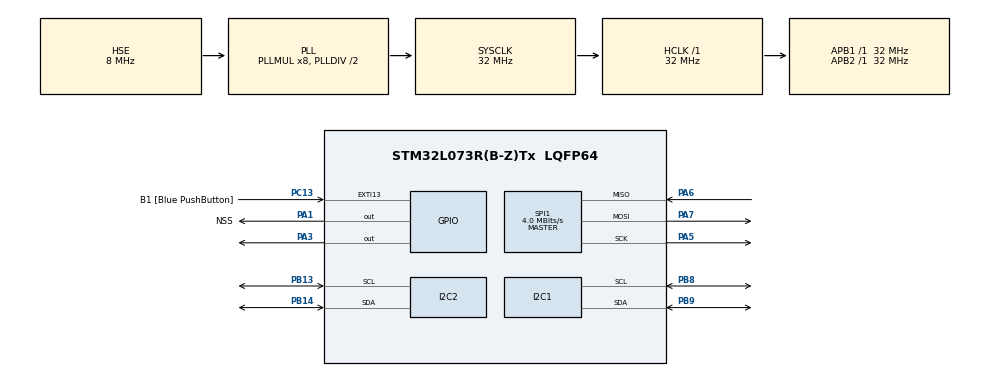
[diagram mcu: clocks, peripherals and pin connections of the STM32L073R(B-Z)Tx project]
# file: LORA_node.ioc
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I2C1.Timing=0x00707CBB
I2C2.Timing=0x00707CBB
Mcu.Family=STM32L0
Mcu.Name=STM32L073R(B-Z)Tx
Mcu.Package=LQFP64
PA1.GPIO_Label=NSS
PA1.PinState=GPIO_PIN_SET
PA1.Signal=GPIO_Output
PA13.GPIO_Label=TMS
PA13.Mode=Serial_Wire
PA13.Signal=SYS_SWDIO
PA14.GPIO_Label=TCK
PA14.Mode=Serial_Wire
PA14.Signal=SYS_SWCLK
PA2.GPIO_Label=USART_TX
PA2.Signal=USART2_TX
PA3.PinState=GPIO_PIN_SET
PA3.Signal=GPIO_Output
PA4.Signal=SPI1_NSS
PA5.Mode=Full_Duplex_Master
PA5.Signal=SPI1_SCK
PA6.Mode=Full_Duplex_Master
PA6.Signal=SPI1_MISO
PA7.Mode=Full_Duplex_Master
PA7.Signal=SPI1_MOSI
PB13.Mode=I2C
PB13.Signal=I2C2_SCL
PB14.Mode=I2C
PB14.Signal=I2C2_SDA
PB8.Mode=I2C
PB8.Signal=I2C1_SCL
PB9.Mode=I2C
PB9.Signal=I2C1_SDA
PC13.GPIO_Label=B1 [Blue PushButton]
PC13.GPIO_ModeDefaultEXTI=GPIO_MODE_IT_FALLING
PC13.Signal=GPXTI13
PC14-OSC32_IN.Mode=LSE-External-Oscillator
PC14-OSC32_IN.Signal=RCC_OSC32_IN
PC15-OSC32_OUT.Mode=LSE-External-Oscillator
PC15-OSC32_OUT.Signal=RCC_OSC32_OUT
PH0-OSC_IN.GPIO_Label=MCO
PH0-OSC_IN.Mode=HSE-External-Clock-Source
PH0-OSC_IN.Signal=RCC_OSC_IN
ProjectManager.HeapSize=0x200
ProjectManager.StackSize=0x400
ProjectManager.TargetToolchain=STM32CubeIDE
RCC.AHBFreq_Value=32000000
RCC.APB1Freq_Value=32000000
RCC.APB1TimFreq_Value=32000000
RCC.APB2Freq_Value=32000000
RCC.APB2TimFreq_Value=32000000
RCC.HCLKFreq_Value=32000000
RCC.HSE_VALUE=8000000
RCC.HSI16_VALUE=16000000
RCC.HSI48_VALUE=48000000
RCC.HSI_VALUE=16000000
RCC.MSI_VALUE=2097000
RCC.PLLMUL=RCC_PLLMUL_8
RCC.PLLSourceVirtual=RCC_PLLSOURCE_HSE
RCC.SYSCLKFreq_VALUE=32000000
RCC.SYSCLKSource=RCC_SYSCLKSOURCE_PLLCLK
RCC.VCOOutputFreq_Value=64000000
SPI1.BaudRatePrescaler=SPI_BAUDRATEPRESCALER_8
SPI1.CalculateBaudRate=4.0 MBits/s
SPI1.Direction=SPI_DIRECTION_2LINES
SPI1.Mode=SPI_MODE_MASTER
SPI1.VirtualType=VM_MASTER
board=NUCLEO-L073RZ

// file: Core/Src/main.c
/* USER CODE BEGIN Header */
/**
  ******************************************************************************
  * @file           : main.c
  * @brief          : Main program body
  ******************************************************************************
  * @attention
  *
  * <h2><center>&copy; Copyright (c) 2020 STMicroelectronics.
  * All rights reserved.</center></h2>
  *
  * This software component is licensed by ST under BSD 3-Clause license,
  * the "License"; You may not use this file except in compliance with the
  * License. You may obtain a copy of the License at:
  *                        opensource.org/licenses/BSD-3-Clause
  *
  ******************************************************************************
  */
/* USER CODE END Header */
#include "main.h"
#include <stdlib.h>
#include <stdio.h>

/* USER CODE BEGIN Includes */
#include "LoRa.h"
#include "routing_table.h"
#include "scheduler.h"
#include "payload.h"
#include <string.h>
/* USER CODE END Includes */

I2C_HandleTypeDef hi2c1;
I2C_HandleTypeDef hi2c2;

SPI_HandleTypeDef hspi1;

/* USER CODE BEGIN PV */
LoRa myLoRa;
uint8_t read_data[128];
uint8_t send_data[128];
int			RSSI;
Transmission transmissions[MAX_TRANSMISSIONS];

/* USER CODE END PV */

void SystemClock_Config(void);
static void MX_GPIO_Init(void);
static void MX_SPI1_Init(void);
static void MX_I2C2_Init(void);
static void MX_I2C1_Init(void);

int main(void)
{

  /* MCU Configuration--------------------------------------------------------*/

  /* Reset of all peripherals, Initializes the Flash interface and the Systick. */
  HAL_Init();

  /* Configure the system clock */
  SystemClock_Config();

  /* Initialize all configured peripherals */
  MX_GPIO_Init();
  MX_SPI1_Init();
  MX_I2C2_Init();
  MX_I2C1_Init();

  /* USER CODE BEGIN 2 */
  	myLoRa = newLoRa();

  	myLoRa.hSPIx                 = &hspi1;
  	myLoRa.CS_port               = NSS_GPIO_Port;
  	myLoRa.CS_pin                = NSS_Pin;
  	myLoRa.reset_port            = RESET_GPIO_Port;
  	myLoRa.reset_pin             = RESET_Pin;
  	myLoRa.DIO0_port						 = DIO0_GPIO_Port;
  	myLoRa.DIO0_pin							 = DIO0_Pin;

  	myLoRa.frequency             = 433;							  // default = 433 MHz
  	myLoRa.spredingFactor        = SF_7;							// default = SF_7
  	myLoRa.bandWidth			       = BW_125KHz;				  // default = BW_125KHz
  	myLoRa.crcRate				       = CR_4_5;						// default = CR_4_5
  	myLoRa.power					       = POWER_20db;				// default = 20db
  	myLoRa.overCurrentProtection = 120; 							// default = 100 mA
  	myLoRa.preamble				       = 10;		  					// default = 8;

  	LoRa_reset(&myLoRa);
  	LoRa_init(&myLoRa);

  	// START CONTINUOUS RECEIVING -----------------------------------
  	//LoRa_startReceiving(&myLoRa);
  	//---------------------------------------------------------------

	routing_entry_t entries[5];
	entries[0].dest_node_id = 1;
	entries[0].dominant_dest = false;
	entries[0].next_hop_id = 4;
	entries[0].cost = 1;
	entries[0].sf = 7;

	entries[1].dest_node_id = 3;
	entries[1].dominant_dest = false;
	entries[1].next_hop_id = 4;
	entries[1].cost = 2;
	entries[1].sf = 8;

	entries[2].dest_node_id = 2;
	entries[2].dominant_dest = false;
	entries[2].next_hop_id = 6;
	entries[2].cost = 3;
	entries[2].sf = 9;

	entries[3].dest_node_id = 4;
	entries[3].dominant_dest = false;
	entries[3].next_hop_id = 1;
	entries[3].cost = 4;
	entries[3].sf = 10;

	entries[4].dest_node_id = 5;
	entries[4].dominant_dest = true;
	entries[4].next_hop_id = 1;
	entries[4].cost = 5;
	entries[4].sf = 11;

  	/*
	routing_entry_t entries[5];
	entries[0].dest_node_id = 1;
	entries[0].dominant_dest = false;
	entries[0].next_hop_id = 5; // Assuming 6 can reach 1 through 5
	entries[0].cost = 2; // Incrementing cost by 1, as it now takes an extra hop
	entries[0].sf = 7;

	entries[1].dest_node_id = 3;
	entries[1].dominant_dest = false;
	entries[1].next_hop_id = 5; // Assuming 6 can reach 3 through 5
	entries[1].cost = 3; // Incrementing cost by 1
	entries[1].sf = 8;

	entries[2].dest_node_id = 2;
	entries[2].dominant_dest = false;
	entries[2].next_hop_id = 5; // Assuming 6 can reach 2 through 5
	entries[2].cost = 4; // Incrementing cost by 1
	entries[2].sf = 9;

	entries[3].dest_node_id = 4;
	entries[3].dominant_dest = false;
	entries[3].next_hop_id = 5; // Assuming 6 can reach 4 through 5
	entries[3].cost = 5; // Incrementing cost by 1
	entries[3].sf = 10;

	entries[4].dest_node_id = 5;
	entries[4].dominant_dest = true;
	entries[4].next_hop_id = 5; // Direct route to 5
	entries[4].cost = 1; // Assuming direct connection
	entries[4].sf = 11;

	*/

	routing_table_t routing_table;
	routing_table.current_node_id = 6;
	routing_table.num_entries = 5;
	memcpy(routing_table.entries, entries, 5 * sizeof(routing_entry_t));

	bool is_dominant_node = false;
	  for (int i = 0; i < routing_table.num_entries; i++) {
	    if (routing_table.entries[i].dest_node_id == routing_table.current_node_id
	        && routing_table.entries[i].dominant_dest) {
	        is_dominant_node = true;
	        break;
	    }
	  }

	// Create the list of transmissions from the routing table
	int num_transmissions;
	Transmission *transmissions = create_transmissions_from_routing_table(
			&routing_table, &num_transmissions);

	// Create the channel list
	int* known_dominants = NULL;
	int num_known_dominant_nodes = 0;

	// Get the known dominant nodes
	known_dominants = get_known_dominant_nodes(&routing_table, &num_known_dominant_nodes);

	int num_channels = 3;
	Channel *channel_list = NULL;

	// Initialize channels based on the transmissions and known dominants
	create_channels_list(transmissions, num_transmissions, routing_table.current_node_id, known_dominants, num_known_dominant_nodes, &channel_list, &num_channels);

	free(transmissions);
	// Call the scheduling function
	// Initialize scheduled_transmissions
	int max_schedule_size = 20;
	ScheduledTransmission *scheduled_transmissions = NULL;
	scheduled_transmissions = (ScheduledTransmission *) malloc(max_schedule_size * sizeof(ScheduledTransmission));

	int num_scheduled_transmissions;
	schedule_transmissions(channel_list, num_channels, scheduled_transmissions,
			&num_scheduled_transmissions);

	// Calculate and print the efficiency score
	double efficiency_score = calculate_efficiency_score(scheduled_transmissions, num_scheduled_transmissions);

	// Create efficiency score payload
	uint8_t *efficiency_score_payload = create_efficiency_score_payload(efficiency_score);

	// Create a single scheduled transmission payload
	unsigned char single_payload[sizeof(ScheduledTransmissionPayload)];
	create_scheduled_transmission_payload(&scheduled_transmissions[0], single_payload);
	printf("Single transmission payload created successfully.\n");
	// use single_payload...

	// Create multiple scheduled transmissions payload
	unsigned char multiple_payload[num_scheduled_transmissions * sizeof(ScheduledTransmissionPayload)];
	create_scheduled_transmissions_payload(scheduled_transmissions, num_scheduled_transmissions, multiple_payload);
	printf("Multiple transmissions payload created successfully.\n");
	// use multiple_payload...

	// Fragment a payload
	PayloadFragment *fragments;
	int num_fragments;
	fragment_payload(multiple_payload, sizeof(multiple_payload), SCHEDULED_TRANSMISSIONS_PACKET_TYPE, &fragments, &num_fragments);

	double scores[num_known_dominant_nodes];

	multicast_and_receive_efficiency_scores(&myLoRa, &routing_table, efficiency_score, known_dominants, num_known_dominant_nodes, scores );

	send_schedule_to_most_efficient_node(&myLoRa, &routing_table, scheduled_transmissions, num_scheduled_transmissions, known_dominants, scores, num_known_dominant_nodes);

	relay_scheduled_transmissions(&myLoRa, &routing_table, scheduled_transmissions, &num_scheduled_transmissions, num_known_dominant_nodes);

	// Clean up
	free(transmissions);
	free(scheduled_transmissions);

  	/* USER CODE END 2 */

    /* Infinite loop */

    while (1)
    {

    }
}

void SystemClock_Config(void)
{
  RCC_OscInitTypeDef RCC_OscInitStruct = {0};
  RCC_ClkInitTypeDef RCC_ClkInitStruct = {0};
  RCC_PeriphCLKInitTypeDef PeriphClkInit = {0};

  /** Configure the main internal regulator output voltage
  */
  __HAL_PWR_VOLTAGESCALING_CONFIG(PWR_REGULATOR_VOLTAGE_SCALE1);

  /** Initializes the RCC Oscillators according to the specified parameters
  * in the RCC_OscInitTypeDef structure.
  */
  RCC_OscInitStruct.OscillatorType = RCC_OSCILLATORTYPE_HSE;
  RCC_OscInitStruct.HSEState = RCC_HSE_BYPASS;
  RCC_OscInitStruct.PLL.PLLState = RCC_PLL_ON;
  RCC_OscInitStruct.PLL.PLLSource = RCC_PLLSOURCE_HSE;
  RCC_OscInitStruct.PLL.PLLMUL = RCC_PLLMUL_8;
  RCC_OscInitStruct.PLL.PLLDIV = RCC_PLLDIV_2;
  if (HAL_RCC_OscConfig(&RCC_OscInitStruct) != HAL_OK)
  {
    Error_Handler();
  }

  /** Initializes the CPU, AHB and APB buses clocks
  */
  RCC_ClkInitStruct.ClockType = RCC_CLOCKTYPE_HCLK|RCC_CLOCKTYPE_SYSCLK
                              |RCC_CLOCKTYPE_PCLK1|RCC_CLOCKTYPE_PCLK2;
  RCC_ClkInitStruct.SYSCLKSource = RCC_SYSCLKSOURCE_PLLCLK;
  RCC_ClkInitStruct.AHBCLKDivider = RCC_SYSCLK_DIV1;
  RCC_ClkInitStruct.APB1CLKDivider = RCC_HCLK_DIV1;
  RCC_ClkInitStruct.APB2CLKDivider = RCC_HCLK_DIV1;

  if (HAL_RCC_ClockConfig(&RCC_ClkInitStruct, FLASH_LATENCY_1) != HAL_OK)
  {
    Error_Handler();
  }
  PeriphClkInit.PeriphClockSelection = RCC_PERIPHCLK_I2C1;
  PeriphClkInit.I2c1ClockSelection = RCC_I2C1CLKSOURCE_PCLK1;
  if (HAL_RCCEx_PeriphCLKConfig(&PeriphClkInit) != HAL_OK)
  {
    Error_Handler();
  }
}

static void MX_I2C1_Init(void)
{

  hi2c1.Instance = I2C1;
  hi2c1.Init.Timing = 0x00707CBB;
  hi2c1.Init.OwnAddress1 = 0;
  hi2c1.Init.AddressingMode = I2C_ADDRESSINGMODE_7BIT;
  hi2c1.Init.DualAddressMode = I2C_DUALADDRESS_DISABLE;
  hi2c1.Init.OwnAddress2 = 0;
  hi2c1.Init.OwnAddress2Masks = I2C_OA2_NOMASK;
  hi2c1.Init.GeneralCallMode = I2C_GENERALCALL_DISABLE;
  hi2c1.Init.NoStretchMode = I2C_NOSTRETCH_DISABLE;
  if (HAL_I2C_Init(&hi2c1) != HAL_OK)
  {
    Error_Handler();
  }

  /** Configure Analogue filter
  */
  if (HAL_I2CEx_ConfigAnalogFilter(&hi2c1, I2C_ANALOGFILTER_ENABLE) != HAL_OK)
  {
    Error_Handler();
  }

  /** Configure Digital filter
  */
  if (HAL_I2CEx_ConfigDigitalFilter(&hi2c1, 0) != HAL_OK)
  {
    Error_Handler();
  }

}

static void MX_I2C2_Init(void)
{

  hi2c2.Instance = I2C2;
  hi2c2.Init.Timing = 0x00707CBB;
  hi2c2.Init.OwnAddress1 = 0;
  hi2c2.Init.AddressingMode = I2C_ADDRESSINGMODE_7BIT;
  hi2c2.Init.DualAddressMode = I2C_DUALADDRESS_DISABLE;
  hi2c2.Init.OwnAddress2 = 0;
  hi2c2.Init.OwnAddress2Masks = I2C_OA2_NOMASK;
  hi2c2.Init.GeneralCallMode = I2C_GENERALCALL_DISABLE;
  hi2c2.Init.NoStretchMode = I2C_NOSTRETCH_DISABLE;
  if (HAL_I2C_Init(&hi2c2) != HAL_OK)
  {
    Error_Handler();
  }

  /** Configure Analogue filter
  */
  if (HAL_I2CEx_ConfigAnalogFilter(&hi2c2, I2C_ANALOGFILTER_ENABLE) != HAL_OK)
  {
    Error_Handler();
  }

  /** Configure Digital filter
  */
  if (HAL_I2CEx_ConfigDigitalFilter(&hi2c2, 0) != HAL_OK)
  {
    Error_Handler();
  }

}

static void MX_SPI1_Init(void)
{

  /* SPI1 parameter configuration*/
  hspi1.Instance = SPI1;
  hspi1.Init.Mode = SPI_MODE_MASTER;
  hspi1.Init.Direction = SPI_DIRECTION_2LINES;
  hspi1.Init.DataSize = SPI_DATASIZE_8BIT;
  hspi1.Init.CLKPolarity = SPI_POLARITY_LOW;
  hspi1.Init.CLKPhase = SPI_PHASE_1EDGE;
  hspi1.Init.NSS = SPI_NSS_SOFT;
  hspi1.Init.BaudRatePrescaler = SPI_BAUDRATEPRESCALER_8;
  hspi1.Init.FirstBit = SPI_FIRSTBIT_MSB;
  hspi1.Init.TIMode = SPI_TIMODE_DISABLE;
  hspi1.Init.CRCCalculation = SPI_CRCCALCULATION_DISABLE;
  hspi1.Init.CRCPolynomial = 7;
  if (HAL_SPI_Init(&hspi1) != HAL_OK)
  {
    Error_Handler();
  }

}

static void MX_GPIO_Init(void)
{
  GPIO_InitTypeDef GPIO_InitStruct = {0};

  /* GPIO Ports Clock Enable */
  __HAL_RCC_GPIOC_CLK_ENABLE();
  __HAL_RCC_GPIOH_CLK_ENABLE();
  __HAL_RCC_GPIOA_CLK_ENABLE();
  __HAL_RCC_GPIOB_CLK_ENABLE();

  /*Configure GPIO pin Output Level */
  HAL_GPIO_WritePin(GPIOA, NSS_Pin|GPIO_PIN_3, GPIO_PIN_SET);

  /*Configure GPIO pin : B1_Pin */
  GPIO_InitStruct.Pin = B1_Pin;
  GPIO_InitStruct.Mode = GPIO_MODE_IT_FALLING;
  GPIO_InitStruct.Pull = GPIO_NOPULL;
  HAL_GPIO_Init(B1_GPIO_Port, &GPIO_InitStruct);

  /*Configure GPIO pins : NSS_Pin PA3 */
  GPIO_InitStruct.Pin = NSS_Pin|GPIO_PIN_3;
  GPIO_InitStruct.Mode = GPIO_MODE_OUTPUT_PP;
  GPIO_InitStruct.Pull = GPIO_NOPULL;
  GPIO_InitStruct.Speed = GPIO_SPEED_FREQ_LOW;
  HAL_GPIO_Init(GPIOA, &GPIO_InitStruct);

  /*Configure GPIO pin : USART_TX_Pin */
  GPIO_InitStruct.Pin = USART_TX_Pin;
  GPIO_InitStruct.Mode = GPIO_MODE_AF_PP;
  GPIO_InitStruct.Pull = GPIO_NOPULL;
  GPIO_InitStruct.Speed = GPIO_SPEED_FREQ_VERY_HIGH;
  GPIO_InitStruct.Alternate = GPIO_AF4_USART2;
  HAL_GPIO_Init(USART_TX_GPIO_Port, &GPIO_InitStruct);

}

/* USER CODE BEGIN 4 */
void HAL_GPIO_EXTI_Callback(uint16_t GPIO_Pin){
	if(GPIO_Pin == DIO0_Pin){

	}
}
/* USER CODE END 4 */

void Error_Handler(void)
{
}
